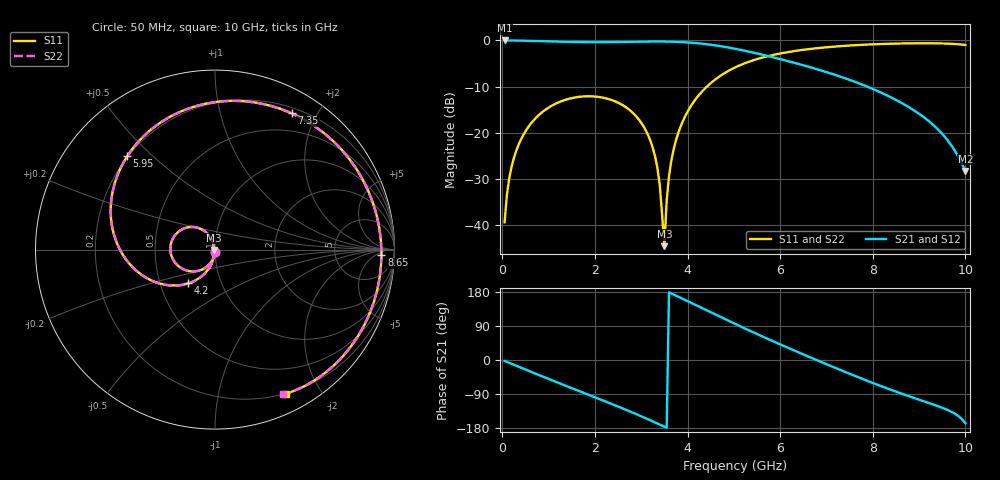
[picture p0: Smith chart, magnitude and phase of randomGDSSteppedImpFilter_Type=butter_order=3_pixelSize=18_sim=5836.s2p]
! freq	dB(S11)	phase(S11)	dB(S12)	phase(S12)
!  dB(S21)	phase(S21)	dB(S22)	phase(S22)
!S-par simulation data
#  GHz  S  DB  R 50
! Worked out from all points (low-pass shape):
!   200 points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, 50 MHz to 10 GHz, reference 50 ohm
!   highest |S21| = 0.00 dB at 50 MHz (marker M1); lowest = -28.3 dB at 10 GHz (marker M2)
!   |S21| within 3 dB of the highest: start of sweep to 5.579 GHz
!   lowest |S11| = -44.6 dB at 3.5 GHz (marker M3), VSWR 1.01, Z = 49.5 - j0.224 ohm
!   |S11| at or under -10 dB: start of sweep to 4.417 GHz
!   |S22| runs from -46.3 to -0.6 dB; largest |S21 - S12| = 0
!   S11 on the Smith chart (normalised r, x): 50 MHz: 1.00, -0.02; 4.2 GHz: 0.70, -0.28; 5.95 GHz: 0.20, +0.42; 7.35 GHz: 0.27, +1.68; 8.65 GHz: 22, -10; 10 GHz: 0.20, -1.59
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0.05  -39.39 -92.3  -0.00 -2.5  -0.00 -2.5  -39.39 -92.3
0.1  -33.38 -95.0  -0.00 -5.1  -0.00 -5.1  -33.38 -95.0
0.2  -27.39 -100.1  -0.01 -10.1  -0.01 -10.1  -27.39 -100.1
0.5  -19.68 -115.4  -0.06 -25.2  -0.06 -25.2  -19.68 -115.4
1.15  -13.71 -147.7  -0.25 -57.2  -0.25 -57.2  -13.71 -147.8
1.75  -12.12 -176.7  -0.38 -86.1  -0.38 -86.1  -12.13 -176.8
2.35  -12.87 154.3  -0.37 -115.3  -0.37 -115.3  -12.87 154.1
2.9  -16.54 127.0  -0.28 -143.2  -0.28 -143.2  -16.54 126.5
3.2  -21.79 112.4  -0.23 -159.3  -0.23 -159.3  -21.79 111.5
3.4  -31.26 107.5  -0.23 -170.3  -0.23 -170.3  -31.32 104.5
3.5  -44.56 -157.5  -0.24 -175.9  -0.24 -175.9  -46.28 -156.2
3.55  -34.67 -103.4  -0.24 -178.7  -0.24 -178.7  -34.80 -99.0
3.7  -23.58 -102.0  -0.28 172.7  -0.28 172.7  -23.59 -100.8
4.2  -12.40 -128.4  -0.59 143.6  -0.59 143.6  -12.40 -128.1
5.05  -5.74 -177.3  -1.85 93.8  -1.85 93.8  -5.74 -177.3
5.95  -2.92 133.2  -3.91 43.9  -3.91 43.9  -2.92 133.1
6.7  -1.78 93.8  -5.95 4.4  -5.95 4.4  -1.78 93.6
7.35  -1.20 60.7  -8.01 -28.8  -8.01 -28.8  -1.20 60.4
8.35  -0.72 12.0  -12.11 -76.7  -12.11 -76.7  -0.72 11.6
8.65  -0.65 -1.9  -13.69 -90.0  -13.69 -90.0  -0.65 -2.4
9.5  -0.65 -40.3  -20.24 -126.1  -20.24 -126.1  -0.66 -41.0
10  -0.97 -63.8  -28.30 -166.9  -28.30 -166.9  -1.00 -64.7
